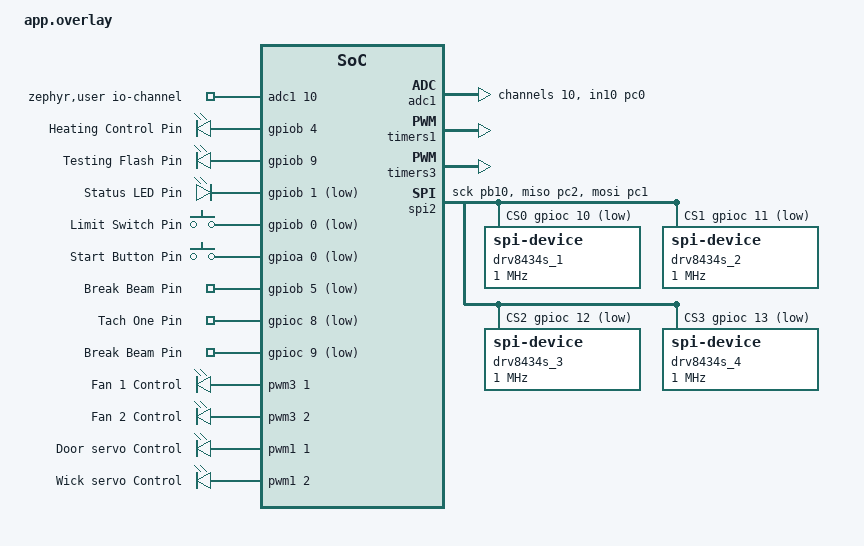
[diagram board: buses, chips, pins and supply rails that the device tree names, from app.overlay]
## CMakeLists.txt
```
# SPDX-License-Identifier: Apache-2.0

cmake_minimum_required(VERSION 3.20.0)
find_package(Zephyr REQUIRED HINTS $ENV{ZEPHYR_BASE})
project(candle-maker)



target_sources(app PRIVATE 
    src/cooling.c
    src/display.c
    src/heating.c
    src/stateMachine.c
    src/servos.c
    src/sensors.c
    src/motors.c

)
```

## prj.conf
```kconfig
CONFIG_SPI=y
CONFIG_GPIO=y
CONFIG_PRINTK=y
CONFIG_LOG=y
CONFIG_PWM=y
CONFIG_NEWLIB_LIBC=y
CONFIG_PICOLIBC=n
CONFIG_LED_PWM=y
CONFIG_ADC=y
CONFIG_UART_CONSOLE=y
CONFIG_SERIAL=y
```

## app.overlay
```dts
/ {
    zephyr,user {
        //io-channels = <&adc1 1>, io-channels = <&adc1 2>, io-channels = <&adc1 3>;
        //gpios = <&gpioc 14 GPIO_ACTIVE_HIGH>; // use this later for heater gpio
        io-channels = <&adc1 10>;
    };

    aliases {
        pwm-fan1 = &fan_pwm1;
        pwm-fan2 = &fan_pwm2;
        pwm-door = &pwm_door;
        pwm-wick = &pwm_wick;
        //tach-input = &tach_input;
        heating-output = &heating_output;
        testing-output = &testing_output;
        limit-sw = &limit_switch_gpio;
        start-btn = &start_button_gpio;
        thru-beam = &gpio_thru_beam;
        status-led = &gpio_status_led;
        gpio-tach1 = &gpio_tach1;
        gpio-tach2 = &gpio_tach2;

        
    };

    gpio_output: gpio_output {
        compatible = "gpio-leds";
        status = "okay";

        // gpio to control the heating element switch
        heating_output: heat_control {
            gpios = <&gpiob 4 GPIO_ACTIVE_HIGH>;
            label = "Heating Control Pin";
        };
        //DELETE AFTER TESTING****************************************************************************
        testing_output: testing_control {
            gpios = <&gpiob 9 GPIO_ACTIVE_HIGH>;
            label = "Testing Flash Pin";
        };

        gpio_status_led: status_led {
            gpios = <&gpiob 1 GPIO_ACTIVE_LOW>; 
            label = "Status LED Pin";
        };

    };

     // Inputs go in a gpio-keys node
    gpio_inputs: gpio_inputs {
        compatible = "gpio-keys";
        status = "okay";
        
        limit_switch_gpio: limit_switch {
            gpios = <&gpiob 0 GPIO_ACTIVE_LOW>;
            label = "Limit Switch Pin";
        };

        start_button_gpio: start_button {
            gpios = <&gpioa 0 GPIO_ACTIVE_LOW>; 
            label = "Start Button Pin";
        };

        gpio_thru_beam: thru_beam {
            gpios = <&gpiob 5 GPIO_ACTIVE_LOW>; 
            label = "Break Beam Pin";
        };

        gpio_tach1: tach_one {
            gpios = <&gpioc 8 GPIO_ACTIVE_LOW>; 
            label = "Tach One Pin";
        };

        gpio_tach2: tach_two {
            gpios = <&gpioc 9 GPIO_ACTIVE_LOW>; 
            label = "Break Beam Pin";
        };
    };


  pwm_node {
        compatible = "pwm-leds";
        status = "okay";

        // Whatever PWM connected to PC6************************************************************************************
        // PC6 is TIM3_CH1*, TIM8_CH1
        fan_pwm1: fan_ctrl_pwm1 {
            pwms = <&pwm3 1 PWM_USEC(500) PWM_POLARITY_NORMAL>;
            label = "Fan 1 Control";
            #pwm-cells = <3>;
        };

        // Whatever PWM connected to PC7
        // PC7 is TIM3_CH2*, TIM8_CH2
        fan_pwm2: fan_ctrl_pwm2 {
            pwms = <&pwm3 2 PWM_USEC(500) PWM_POLARITY_NORMAL>;
            label = "Fan 2 Control";
            #pwm-cells = <3>;
        };

        // Whatever PWM connected to PB13
        // PB13 is TIM1_CH1N*
        pwm_door: door_ctrl_pwm {
             pwms = <&pwm1 1 PWM_MSEC(20) PWM_POLARITY_INVERTED>;
             label = "Door servo Control";
             #pwm-cells = <3>;
        };

        // Whatever PWM connected to PB14
        // PB14 is TIM1_CH2N*, TIM8_CH2N, 
        // lets use TIM12_CH1 if N doesnt work out 
        pwm_wick: wick_pwm {
            pwms = <&pwm1 2 PWM_MSEC(20) PWM_POLARITY_INVERTED>;
            label = "Wick servo Control";
            #pwm-cells = <3>;
        };


    };
};

&adc1 {


    st,adc-prescaler = <6>;
    #address-cells = <1>;
    #size-cells = <0>;
    //#io-channel-cells = <1>;
    //st,adc-clock-source = "SYNC";

    vref-mv = <3300>; //subject to change
    //resolutions = <STM32_ADC_RES(12, 0x00) STM32_ADC_RES(10, 0x01)
    //                    STM32_ADC_RES(8, 0x02)  STM32_ADC_RES(6, 0x03)>;

    //sampling-times = <3 15 28 56 84 112 144 480>;
   // st,adc-sequencer = "programmable";            
   // st,adc-oversampler = "none";                    
    //st,adc-internal-regulator = "none";             

    pinctrl-0 = <&adc1_in10_pc0>;
    pinctrl-names = "default";
    status = "okay";
    
    // adc channel for thermistor -> Whatver ADC connected to PC0 ******************************************
    // ADC123_IN0
    channel@10 {
        reg = <10>;  // ADC channel 10
        zephyr,gain = "ADC_GAIN_1";
        zephyr,reference = "ADC_REF_INTERNAL";
        zephyr,acquisition-time = <ADC_ACQ_TIME_DEFAULT>;
        zephyr,resolution = <12>;
    };

};



&timers1 {
    status = "okay";
     st,prescaler = <8399>;  
    // Timer for door servo pwm -> TIM1_CH1N PB13************************how to configure if N******************
    // Timer for wick servo pwm -> TIM1_CH2N PB14************************how to configure if N******************
    // maybe use TIM12_CH1? for PB14
    pwm1: pwm {
        compatible = "st,stm32-pwm"; 
        status = "okay";
        pinctrl-0 = <&tim1_ch1n_pb13 &tim1_ch2n_pb14>;
        pinctrl-names = "default";
        #pwm-cells = <3>;
    };
};

&timers3 {
    status = "okay";
    st,prescaler = <8399>;  
    // Timer 1 for fan 1 pwm -> TIM3_CH1 PC6
     // Timer 2 for fan 2 pwm -> TIM3_CH2 PC7
    pwm3: pwm3 {
        compatible = "st,stm32-pwm"; 
        status = "okay";
        pinctrl-0 = <&tim3_ch1_pc6 &tim3_ch2_pc7>;
        pinctrl-names = "default";
        #pwm-cells = <3>;
    };
};

&spi2 {
    status = "okay";
    pinctrl-0 = <&spi2_sck_pb10 &spi2_miso_pc2 &spi2_mosi_pc1>;
    pinctrl-names = "default";
    
    // Three CS pins for three drivers
    cs-gpios = <&gpioc 10 GPIO_ACTIVE_LOW>,   // M-CS1 (Driver 1)
               <&gpioc 11 GPIO_ACTIVE_LOW>,   // M-CS2 (Driver 2)
               <&gpioc 12 GPIO_ACTIVE_LOW>,   // M-CS3 (Driver 3)
               <&gpioc 13 GPIO_ACTIVE_LOW>; 
    
    // spi device 1 
    drv8434s_1: drv8434s@0 {
        compatible = "spi-device";
        reg = <0>;  // Uses cs-gpios[0]
        spi-max-frequency = <1000000>;
    };
    
    // spi device 2
    drv8434s_2: drv8434s@1 {
        compatible = "spi-device";
        reg = <1>;  // Uses cs-gpios[1]
        spi-max-frequency = <1000000>;
    };
    
    // spi device 3
    drv8434s_3: drv8434s@2 {
        compatible = "spi-device";
        reg = <2>;  // Uses cs-gpios[2]
        spi-max-frequency = <1000000>;
    };

     // spi device 4
    drv8434s_4: drv8434s@3 {
        compatible = "spi-device";
        reg = <3>;  // Uses cs-gpios[3]
        spi-max-frequency = <1000000>;
    };
};
```

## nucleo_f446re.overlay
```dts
/ {
    zephyr,user {
        io-channels = <&adc1 10>;
    };

    aliases {
        pwm-fan1 = &fan_pwm1;
        pwm-fan2 = &fan_pwm2;
        pwm-door = &pwm_door;
        pwm-wick = &pwm_wick;
        heating-output = &heating_output;
        testing-output = &testing_output;
        limit-sw = &limit_switch_gpio;
        start-btn = &start_button_gpio;
        thru-beam = &gpio_thru_beam;
        status-led = &gpio_status_led;
        gpio-tach1 = &gpio_tach1;
        gpio-tach2 = &gpio_tach2;
    };

    gpio_output: gpio_output {
        compatible = "gpio-leds";
        status = "disabled";

        heating_output: heat_control {
            gpios = <&gpiob 4 GPIO_ACTIVE_HIGH>;
            label = "Heating Control Pin";
        };

        testing_output: testing_control {
            gpios = <&gpiob 12 GPIO_ACTIVE_HIGH>;
            label = "Testing Flash Pin";
        };

        gpio_status_led: status_led {
            gpios = <&gpiob 1 GPIO_ACTIVE_LOW>; 
            label = "Status LED Pin";
        };
    };


motor_gpio_outputs: motor_gpio_outputs {
    compatible = "gpio-leds";
    status = "okay";

    motor1_step_pin: motor1_step {
         gpios = <&gpioa 10 GPIO_ACTIVE_HIGH>;
        label = "Motor 1 Step Pin";
    };
    
    motor1_dir_pin: motor1_dir {
        gpios = <&gpioa 11 GPIO_ACTIVE_HIGH>;
        label = "Motor 1 Dir Pin";
    };


        motor2_step_pin: motor2_step {
            gpios = <&gpioa 4 GPIO_ACTIVE_HIGH>;  // Changed from PA8 to PC0
            label = "Motor 2 Step Pin";
        };
        
        motor2_dir_pin: motor2_dir {
            gpios = <&gpioc 1 GPIO_ACTIVE_HIGH>;  // Changed from PA9 to PC1
            label = "Motor 2 Dir Pin";
        };

        motor3_step_pin: motor3_step {
            gpios = <&gpiob 6 GPIO_ACTIVE_HIGH>;
            label = "Motor 3 Step Pin";
        };
        
        motor3_dir_pin: motor3_dir {
            gpios = <&gpiob 7 GPIO_ACTIVE_HIGH>;
            label = "Motor 3 Dir Pin";
        };

        motor4_step_pin: motor4_step {
            gpios = <&gpiob 8 GPIO_ACTIVE_HIGH>;
            label = "Motor 4 Step Pin";
        };
        
        motor4_dir_pin: motor4_dir {
            gpios = <&gpiob 9 GPIO_ACTIVE_HIGH>;
            label = "Motor 4 Dir Pin";
        };
    };

    // Inputs go in a gpio-keys node
    gpio_inputs: gpio_inputs {
        compatible = "gpio-keys";
        status = "disabled";
        
        limit_switch_gpio: limit_switch {
            gpios = <&gpiob 0 GPIO_ACTIVE_LOW>;
            label = "Limit Switch Pin";
        };

        start_button_gpio: start_button {
            gpios = <&gpioa 0 GPIO_ACTIVE_LOW>; 
            label = "Start Button Pin";
        };

        gpio_thru_beam: thru_beam {
            gpios = <&gpiob 5 GPIO_ACTIVE_LOW>; 
            label = "Break Beam Pin";
        };

        gpio_tach1: tach_one {
            gpios = <&gpioc 8 GPIO_ACTIVE_LOW>; 
            label = "Tach One Pin";
        };

        gpio_tach2: tach_two {
            gpios = <&gpioc 9 GPIO_ACTIVE_LOW>; 
            label = "Tach Two Pin";
        };
    };


  pwm_node {
        compatible = "pwm-leds";
        status = "disabled";

        // Whatever  connected to PC6************************************************************************************
        // PC6 is TIM3_CH1*, TIM8_CH1
        fan_pwm1: fan_ctrl_pwm1 {
            pwms = <&pwm3 1 PWM_USEC(500) PWM_POLARITY_NORMAL>;
            label = "Fan 1 Control";
            #pwm-cells = <3>;
        };

        // Whatever PWM connected to PC7
        // PC7 is TIM3_CH2*, TIM8_CH2
        fan_pwm2: fan_ctrl_pwm2 {
            pwms = <&pwm3 2 PWM_USEC(500) PWM_POLARITY_NORMAL>;
            label = "Fan 2 Control";
            #pwm-cells = <3>;
        };

        // Whatever PWM connected to PB13
        // PB13 is TIM1_CH1N*
        pwm_door: door_ctrl_pwm {
             pwms = <&pwm1 1 PWM_MSEC(20) PWM_POLARITY_INVERTED>;
             label = "Door servo Control";
             #pwm-cells = <3>;
        };

        // Whatever PWM connected to PB14
        // PB14 is TIM1_CH2N*, TIM8_CH2N, 
        // lets use TIM12_CH1 if N doesnt work out 
        pwm_wick: wick_pwm {
            pwms = <&pwm1 2 PWM_MSEC(20) PWM_POLARITY_INVERTED>;
            label = "Wick servo Control";
            #pwm-cells = <3>;
        };


    };
};

&adc1 {


    st,adc-prescaler = <6>;
    #address-cells = <1>;
    #size-cells = <0>;
    //#io-channel-cells = <1>;
    //st,adc-clock-source = "SYNC";

    vref-mv = <3300>; //subject to change
    //resolutions = <STM32_ADC_RES(12, 0x00) STM32_ADC_RES(10, 0x01)
    //                    STM32_ADC_RES(8, 0x02)  STM32_ADC_RES(6, 0x03)>;

    //sampling-times = <3 15 28 56 84 112 144 480>;
   // st,adc-sequencer = "programmable";            
   // st,adc-oversampler = "none";                    
    //st,adc-internal-regulator = "none";             

    pinctrl-0 = <&adc1_in10_pc0>;
    pinctrl-names = "default";
    status = "disabled";
    
    // adc channel for thermistor -> Whatver ADC connected to PC0 ******************************************
    // ADC123_IN0
    channel@10 {
        reg = <10>;  // ADC channel 10
        zephyr,gain = "ADC_GAIN_1";
        zephyr,reference = "ADC_REF_INTERNAL";
        zephyr,acquisition-time = <ADC_ACQ_TIME_DEFAULT>;
        zephyr,resolution = <12>;
    };

};



&timers1 {
    status = "disabled";
     st,prescaler = <8399>;  
    // Timer for door servo pwm -> TIM1_CH1N PB13************************how to configure if N******************
    // Timer for wick servo pwm -> TIM1_CH2N PB14************************how to configure if N******************
    // maybe use TIM12_CH1? for PB14
    pwm1: pwm {
        compatible = "st,stm32-pwm"; 
        status = "okay";
        pinctrl-0 = <&tim1_ch1n_pb13 &tim1_ch2n_pb14>;
        pinctrl-names = "default";
        #pwm-cells = <3>;
    };
};

&timers3 {
    status = "disabled";
    st,prescaler = <8399>;  
    // Timer 1 for fan 1 pwm -> TIM3_CH1 PC6
     // Timer 2 for fan 2 pwm -> TIM3_CH2 PC7
    pwm3: pwm3 {
        compatible = "st,stm32-pwm"; 
        status = "okay";
        pinctrl-0 = <&tim3_ch1_pc6 &tim3_ch2_pc7>;
        pinctrl-names = "default";
        #pwm-cells = <3>;
    };
};

&spi2 {
    status = "okay";
    pinctrl-0 = <&spi2_sck_pb10 &spi2_miso_pc2 &spi2_mosi_pc1>;
    pinctrl-names = "default";
    
    // Three CS pins for three drivers
    cs-gpios = <&gpioc 10 GPIO_ACTIVE_LOW>,   // M-CS1 (Driver 1)
               <&gpioc 11 GPIO_ACTIVE_LOW>,   // M-CS2 (Driver 2)
               <&gpioc 12 GPIO_ACTIVE_LOW>,   // M-CS3 (Driver 3)
               <&gpioc 13 GPIO_ACTIVE_LOW>; 
    
    // spi device 1 
    // scent dispensing motor
    drv8434s_1: drv8434s@0 {
        compatible = "spi-device";
        reg = <0>;  // Uses cs-gpios[0]
        spi-max-frequency = <1000000>;
    };
    
    // spi device 2
    // stirring motor
    drv8434s_2: drv8434s@1 {
        compatible = "spi-device";
        reg = <1>;  // Uses cs-gpios[1]
        spi-max-frequency = <1000000>;
    };
    
    // spi device 3
    // wax dispensing motor
    drv8434s_3: drv8434s@2 {
        compatible = "spi-device";
        reg = <2>;  // Uses cs-gpios[2]
        spi-max-frequency = <1000000>;
    };

     // spi device 4
     // lead screw motor
    drv8434s_4: drv8434s@3 {
        compatible = "spi-device";
        reg = <3>;  // Uses cs-gpios[3]
        spi-max-frequency = <1000000>;
    };
};
```

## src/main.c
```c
// main.c
#include "daisy_chain.h"
// this is literally just for testing the motors, were going to see if i can get them to be smoother


int configure_driver(const struct device *spi_dev, 
                     const struct spi_config *spi_cfg,
                     int driver_num)
{
    int ret;
    printk("Configuring Driver %d \n", driver_num);
    
    k_mutex_lock(&spi_mutex, K_FOREVER);
    
    // CTRL2: Enable driver 
    ret = drv8434s_write_reg(spi_dev, spi_cfg, DRV8434S_CTRL2_REG, 0x8F);
    if (ret != 0) {
        printk("Driver %d: Failed to write CTRL2\n", driver_num);
        k_mutex_unlock(&spi_mutex);
        return ret;
    }


    

    
    // CTRL3: Enable SPI control + set microstepping
    // Bit 5: SPI_DIR = 1 (control direction via SPI)
    // Bit 4: SPI_STEP = 1 (control stepping via SPI)
    // Bits 3-0: 0110b = 1/16 microstepping
    uint8_t ctrl3_val = (1 << 5) |  // SPI_DIR enable
                        (1 << 4) |  // SPI_STEP enable
                        0x06;       // 1/16 microstepping
    
    ret = drv8434s_write_reg(spi_dev, spi_cfg, DRV8434S_CTRL3_REG, ctrl3_val);
    if (ret != 0) {
        printk("Driver %d: Failed to write CTRL3\n", driver_num);
        k_mutex_unlock(&spi_mutex);
        return ret;
    }
    
    // CTRL6 -> Set current limit to 1.5A
    ret = drv8434s_write_reg(spi_dev, spi_cfg, DRV8434S_CTRL6_REG, 153);
    if (ret != 0) {
        printk("Driver %d: Failed to write CTRL6\n", driver_num);
        k_mutex_unlock(&spi_mutex);
        return ret;
    }
    
    k_mutex_unlock(&spi_mutex);
    
    printk("Driver %d configured: SPI control enabled, 1/16 microstep, 1.5A\n", driver_num);
    return 0;
}

void test_read_driver(const struct device *spi_dev,
                      const struct spi_config *spi_cfg,
                      int driver_num)
{
    uint8_t value;
    int ret;
    
    k_mutex_lock(&spi_mutex, K_FOREVER);
    ret = drv8434s_read_reg(spi_dev, spi_cfg, DRV8434S_CTRL3_REG, &value);
    k_mutex_unlock(&spi_mutex);
    
    if (ret == 0) {
        printk("Driver %d CTRL3 value: 0x%02X\n", driver_num, value);
    } else {
        printk("Driver %d read failed\n", driver_num);
    }
}

// Step one motor - STEP bit is self-clearing!
int drv8434s_step_motor(const struct device *spi_dev, 
                        const struct spi_config *spi_cfg,
                        bool direction,
                        int num_steps)
{
    int ret;
    
    printk("Stepping: direction=%d, steps=%d\n", direction, num_steps);
    
    k_mutex_lock(&spi_mutex, K_FOREVER);
    
    for (int i = 0; i < num_steps; i++) {
        // 0xF6 = forward, 0x76 = backward
        //uint8_t ctrl3_val = direction ? 0xF6 : 0x76;
        uint8_t ctrl3_val = 0x76;
        
        ret = drv8434s_write_reg(spi_dev, spi_cfg, DRV8434S_CTRL3_REG, ctrl3_val);
        if (ret != 0) {
            printk("Step %d failed! ret=%d\n", i, ret);
            k_mutex_unlock(&spi_mutex);
            return ret;
        }
        
        if (i % 50 == 0) {  // Print every 50 steps
            printk("Step %d...\n", i);
        }
        
        k_usleep(1);
    }
    
    k_mutex_unlock(&spi_mutex);
    printk("Stepping complete!\n");
    return 0;
}


int drv8434s_step_motor_smooth(const struct device *spi_dev, 
                               const struct spi_config *spi_cfg,
                               bool direction,
                               int num_steps)
{
    int ret;
    k_mutex_lock(&spi_mutex, K_FOREVER);
    
    int accel_steps = 50;  // Ramp up/down over 50 steps
    
    for (int i = 0; i < num_steps; i++) {
        uint8_t ctrl3_val = 0x74;  // 1/4 microstep values
        
        ret = drv8434s_write_reg(spi_dev, spi_cfg, DRV8434S_CTRL3_REG, ctrl3_val);
        if (ret != 0) {
            k_mutex_unlock(&spi_mutex);
            return ret;
        }
        
        // Variable delay for acceleration/deceleration (trying to get the motion less choppy)
        int delay;
        if (i < accel_steps) {
            // Accelerate: start slow, get faster
            delay = 500 - (i * 400 / accel_steps);
        } else if (i > num_steps - accel_steps) {
            // Decelerate: slow down
            int remaining = num_steps - i;
            delay = 500 - (remaining * 400 / accel_steps);
        } else {
            // Constant speed in the middle
            delay = 100;
        }
        
        k_usleep(delay);
    }
    
    k_mutex_unlock(&spi_mutex);
    return 0;
}

int main(void)
{
    int ret;
    
    printk("\n DRV8434S Parallel Configuration Test\n\n");
    
    // Initialize - this fills in spi_dev1/2/3 and spi_cfg1/2/3
    ret = drv8434s_init();
    if (ret != 0) {
        printk("FATAL: Initialization failed!\n");
        return ret;
    }
    
    k_msleep(100);
    
    // Configure all drivers
    printk("\n--- Configuring all drivers ---\n");
    configure_driver(spi_dev1, &spi_cfg1, 1);  
    configure_driver(spi_dev2, &spi_cfg2, 2);  
    configure_driver(spi_dev3, &spi_cfg3, 3);  
    

    
    k_msleep(100);
    // After configuration, read back CTRL3:
    uint8_t readback;
    drv8434s_read_reg(spi_dev2, &spi_cfg2, DRV8434S_CTRL3_REG, &readback);
    printk("Driver 2 CTRL3 readback: 0x%02X (expected 0x36)\n", readback);
    
    
    k_msleep(100);
    // Comment out read test - we know communication works!
    /*
    printk("\n--- Reading back from drivers ---\n");
    test_read_driver(spi_dev1, &spi_cfg1, 1);
    test_read_driver(spi_dev2, &spi_cfg2, 2);
    test_read_driver(spi_dev3, &spi_cfg3, 3);
    */
    
    printk("\n Configuration Complete \n");
    
    // Test motor movement
    printk("\nTesting Motor Movement\n");
    k_msleep(1000);
    
    printk("Motor 1: 200 steps forward\n");
    drv8434s_step_motor_smooth(spi_dev2, &spi_cfg2, true, 200);
    k_msleep(500);
    
    printk("Motor 1: 200 steps backward\n");
    drv8434s_step_motor_smooth(spi_dev2, &spi_cfg2, false, 200);
    k_msleep(500);
    
    printk("\n Motor Test Done\n");
    
    while (1) {
        k_msleep(1000);
    }
    
    return 0;
}
```

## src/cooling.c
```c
// This is the program to control the fans
// Two fans so two PWM signals and two TACH inputs
// Uses interrupts to update the tach pulse counters and a thread with helper functions 
// to appropiately update the PWM signal for the fans
// This file was never fully tested so its missing some definitions like target RPM and tolerance
// I did test the PWM signals and tach reading separately and it worked
// See cooling.h for helper function descriptions

#include <zephyr/kernel.h>
#include <zephyr/device.h>
#include <zephyr/devicetree.h>
#include <zephyr/drivers/gpio.h>
#include <zephyr/drivers/pwm.h>
#include <zephyr/sys/util.h>
#include "cooling.h"

#define TACHTHREAD_STACK_SIZE 1024
#define TACHTHREAD_PRIORITY 2

#define OPERATING_SPEED_RPM 2000  // Target RPM***************************************literally no idea
#define SPEED_ERROR_RPM 200       // Tolerance (might increase?)******************************
#define DUTY_STEP 5
#define TACH_SAMPLE_PERIOD_MS 1000  // Sample for 1 second
#define PULSES_PER_REV 2  // Most PC fans = 2 pulses/revolution apparently but I need to confirm***********************

// Semaphore to control cooling thread
K_SEM_DEFINE(cooling_sem, 0, 1);

// PWM for both fans
static const struct pwm_dt_spec pwm_fan1 = PWM_DT_SPEC_GET(DT_ALIAS(pwm_fan1));
static const struct pwm_dt_spec pwm_fan2 = PWM_DT_SPEC_GET(DT_ALIAS(pwm_fan2));

// GPIO for both tach inputs
static const struct gpio_dt_spec gpio_tach1 = GPIO_DT_SPEC_GET(DT_ALIAS(gpio_tach1), gpios);
static const struct gpio_dt_spec gpio_tach2 = GPIO_DT_SPEC_GET(DT_ALIAS(gpio_tach2), gpios);

// Tach pulse counters
static volatile uint32_t tach1_pulse_count = 0;
static volatile uint32_t tach2_pulse_count = 0;

// GPIO callbacks
static struct gpio_callback tach1_cb_data;
static struct gpio_callback tach2_cb_data;

// Current duty cycles
static uint32_t period_us = 500;  // 2kHz
static uint8_t current_duty_fan1 = 0;
static uint8_t current_duty_fan2 = 0;


// Thread definition
K_THREAD_DEFINE(tach_thread_id, TACHTHREAD_STACK_SIZE,
                tach_monitoring_thread, NULL, NULL, NULL, 
                TACHTHREAD_PRIORITY, 0, 0);


// tach1 interrupt handler
void tach1_interrupt_handler(const struct device *dev, struct gpio_callback *cb, uint32_t pins){
    tach1_pulse_count++;
}
// tach2 interrupt handler
void tach2_interrupt_handler(const struct device *dev, struct gpio_callback *cb, uint32_t pins){
    tach2_pulse_count++;
}

// sets pwm signal for fan 1
int set_fan1(uint8_t percent_duty)
{
    // Start fan at duty_percent * period
    uint32_t pulse_us = (period_us * percent_duty) / 100;
    int err = pwm_set_dt(&pwm_fan1, PWM_USEC(period_us), PWM_USEC(pulse_us));
    if (err < 0) {
        printk("Failed to set Fan 1 PWM: %d\n", err);
        return err;
    }
    current_duty_fan1 = percent_duty;
    return 0;
}

// sets pwm signal for fan 2
int set_fan2(uint8_t percent_duty)
{
    // Start fan at duty_percent * period
    uint32_t pulse_us = (period_us * percent_duty) / 100;
    int err = pwm_set_dt(&pwm_fan2, PWM_USEC(period_us), PWM_USEC(pulse_us));
    if (err < 0) {
        printk("Failed to set Fan 2 PWM: %d\n", err);
        return err;
    }
    current_duty_fan2 = percent_duty;
    return 0;
}

int set_both_fans(uint8_t percent_duty)
{
    int err1 = set_fan1(percent_duty);
    int err2 = set_fan2(percent_duty);
    
    if (err1 < 0 || err2 < 0) {
        return -1;
    }
    
    printk("Both fans set to %d%% duty cycle\n", percent_duty);
    return 0;
}

int stop_fans(void)
{
    int err1 = pwm_set_dt(&pwm_fan1, PWM_USEC(period_us), 0);
    int err2 = pwm_set_dt(&pwm_fan2, PWM_USEC(period_us), 0);
    
    if (err1 < 0 || err2 < 0) {
        printk("Failed to stop fans\n");
        return -1;
    }
    
    current_duty_fan1 = 0;
    current_duty_fan2 = 0;
    printk("Both fans stopped\n");
    return 0;
}

// tach reading functions
uint32_t read_tach1_rpm(void)
{
    // Reset counter
    tach1_pulse_count = 0;
    
    // Wait for sample period
    k_msleep(TACH_SAMPLE_PERIOD_MS);
    
    // Calculate RPM
    // RPM = (pulses / sample_time_seconds) / pulses_per_rev * 60
    uint32_t rpm = (tach1_pulse_count * 60) / PULSES_PER_REV;
    
    printk("Fan 1 - Pulses: %u, RPM: %u\n", tach1_pulse_count, rpm);
    return rpm;
}

uint32_t read_tach2_rpm(void)
{
    // Resets counter
    tach2_pulse_count = 0;
    
    // Wait for sample period
    k_msleep(TACH_SAMPLE_PERIOD_MS);
    
    // Calculate RPM
    uint32_t rpm = (tach2_pulse_count * 60) / PULSES_PER_REV;
    
    printk("Fan 2 - Pulses: %u, RPM: %u\n", tach2_pulse_count, rpm);
    return rpm;
}



// start cooling threads
void start_cooling(void)
{
    current_duty_fan1 = 50;
    current_duty_fan2 = 50;
    set_both_fans(50);
    k_sem_give(&cooling_sem);  // Wake up monitoring thread
    printk("Cooling started at 50%% duty\n");
}

// stop cooling thread
void stop_cooling(void)
{
    k_sem_reset(&cooling_sem);  // Stop monitoring
    stop_fans();
    printk("Cooling stopped\n");
}

// init cooling 
int cooling_init(void)
{
    int err;

    // Check PWM devices
    if (!device_is_ready(pwm_fan1.dev)) {
        printk("Fan 1 PWM device not ready\n");
        return -1;
    }
    
    if (!device_is_ready(pwm_fan2.dev)) {
        printk("Fan 2 PWM device not ready\n");
        return -1;
    }


    // Configure tach GPIO inputs
    if (!device_is_ready(gpio_tach1.port)) {
        printk("Tach 1 GPIO device not ready\n");
        return -1;
    }
    
    if (!device_is_ready(gpio_tach2.port)) {
        printk("Tach 2 GPIO device not ready\n");
        return -1;
    }

    // Configure tach 1 as input with interrupt on rising edge
    err = gpio_pin_configure_dt(&gpio_tach1, GPIO_INPUT);
    if (err < 0) {
        printk("Failed to configure tach 1 GPIO: %d\n", err);
        return err;
    }

    err = gpio_pin_interrupt_configure_dt(&gpio_tach1, GPIO_INT_EDGE_RISING);
    if (err < 0) {
        printk("Failed to configure tach 1 interrupt: %d\n", err);
        return err;
    }

    // Configure tach 2 as input with interrupt on rising edge
    err = gpio_pin_configure_dt(&gpio_tach2, GPIO_INPUT);
    if (err < 0) {
        printk("Failed to configure tach 2 GPIO: %d\n", err);
        return err;
    }

    err = gpio_pin_interrupt_configure_dt(&gpio_tach2, GPIO_INT_EDGE_RISING);
    if (err < 0) {
        printk("Failed to configure tach 2 interrupt: %d\n", err);
        return err;
    }

    // Setup GPIO callbacks for the tach
    gpio_init_callback(&tach1_cb_data, tach1_interrupt_handler, BIT(gpio_tach1.pin));
    gpio_add_callback(gpio_tach1.port, &tach1_cb_data);
    gpio_init_callback(&tach2_cb_data, tach2_interrupt_handler, BIT(gpio_tach2.pin));
    gpio_add_callback(gpio_tach2.port, &tach2_cb_data);

    // Start fans stopped
    err = stop_fans();
    if (err < 0) {
        return err;
    }

    printk("Cooling system initialized\n");
    return 0;
}

// tach monitoring thread
void tach_monitoring_thread(void *p1, void *p2, void *p3)
{
    ARG_UNUSED(p1);
    ARG_UNUSED(p2);
    ARG_UNUSED(p3);

    printk("Tach monitoring thread started\n");

    while (1) {
        // wait for cooling to be enabled (by start_cooling)
        k_sem_take(&cooling_sem, K_FOREVER);

        // monitoring loop
        while (k_sem_count_get(&cooling_sem) > 0) {
            // read both tach speeds
            uint32_t rpm1 = read_tach1_rpm();
            uint32_t rpm2 = read_tach2_rpm();

            // adjust fan 1 based on tach reading
            if (rpm1 > OPERATING_SPEED_RPM + SPEED_ERROR_RPM) {
                current_duty_fan1 = (current_duty_fan1 > DUTY_STEP) ? current_duty_fan1 - DUTY_STEP : 0;
                set_fan1(current_duty_fan1);
                printk("Fan 1 speed too high");
            } else if (rpm1 < OPERATING_SPEED_RPM - SPEED_ERROR_RPM) {
                current_duty_fan1 = (current_duty_fan1 < 100 - DUTY_STEP) ? current_duty_fan1 + DUTY_STEP : 100;
                set_fan1(current_duty_fan1);
                printk("Fan 1 speed too low");
            }

            // adjust fan 2 based on tach 2 reading
            if (rpm2 > OPERATING_SPEED_RPM + SPEED_ERROR_RPM) {
                current_duty_fan2 = (current_duty_fan2 > DUTY_STEP) ? current_duty_fan2 - DUTY_STEP : 0;
                set_fan2(current_duty_fan2);
                printk("Fan 2 speed too high");
            } else if (rpm2 < OPERATING_SPEED_RPM - SPEED_ERROR_RPM) {
                current_duty_fan2 = (current_duty_fan2 < 100 - DUTY_STEP) ? current_duty_fan2 + DUTY_STEP : 100;
                set_fan2(current_duty_fan2);
                printk("Fan 2 speed too low");
            }
            k_msleep(500);  // Check every 500ms
        }
    }
}
```

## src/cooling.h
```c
#ifndef COOLING_H
#define COOLING_H


// need to include this in header files if you use fixed width int types in a function signature
// zephyr includes this automatically in c files
#include <stdint.h>

// initializes GPIO pins, PWM signals
int cooling_init(void);
// sets pwm signal for fan 1
int set_fan1(uint8_t percent_duty);
// sets pwm signal for fan 2
int set_fan2(uint8_t percent_duty);
// sets pwm signal for both fans
int set_both_fans(uint8_t percent_duty);
// stops the fans (duty cycle -> 0)
int stop_fans(void);

// reads the tachs for each fan and resets pulse count
// helper function for the fan thread
uint32_t read_tach1_rpm(void);
uint32_t read_tach2_rpm(void);

// gives the semaphore to start the cooligng thread
void start_cooling(void);
// resets semaphore count to 0 (stops cooling thread)
void stop_cooling(void);


void tach_monitoring_thread(void *p1, void *p2, void *p3);
#endif
```

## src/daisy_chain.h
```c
#ifndef DAISY_CHAIN_H
#define DAISY_CHAIN_H

#include <zephyr/kernel.h>
#include <zephyr/device.h>
#include <zephyr/drivers/spi.h>
#include <zephyr/drivers/gpio.h>

// DRV8434S Register Addresses (from datasheet)
#define DRV8434S_FAULT_REG    0x00  // Fault status register
#define DRV8434S_DIAG1_REG    0x01  // Diagnostics 1
#define DRV8434S_DIAG2_REG    0x02  // Diagnostics 2
#define DRV8434S_CTRL1_REG    0x03  // Control register 1
#define DRV8434S_CTRL2_REG    0x04  // Control register 2 (DIR, STEP, SPI_DIR, SPI_STEP, MICROSTEP_MODE)
#define DRV8434S_CTRL3_REG    0x05  // Control register 3 (overcurrent check)
#define DRV8434S_CTRL4_REG    0x06  // Control register 4 (stall detection)
#define DRV8434S_CTRL5_REG    0x07  // Control register 5
#define DRV8434S_CTRL6_REG    0x08  // Control register 6
#define DRV8434S_CTRL7_REG    0x09  // Control register 7


//extern = tells compiler "these variables exists somewhere TRUST"
extern const struct device *spi_dev1;
extern const struct device *spi_dev2;
extern const struct device *spi_dev3;

extern struct spi_config spi_cfg1;
extern struct spi_config spi_cfg2;
extern struct spi_config spi_cfg3;

extern struct k_mutex spi_mutex;

// Motor command structure
struct motor_command {
    uint8_t motor_id;      // 1, 2, or 3
    int32_t steps;         // Positive = forward, negative = reverse
    uint32_t speed_hz;     // Steps per second
    bool in_use;           // Flag to indicate if command is active
};


// Thread stack and priority definitions
#define MOTOR_THREAD_STACK_SIZE 2048
#define MOTOR_THREAD_PRIORITY 5

// Function declarations
int motor_move(uint8_t motor_id, int32_t steps, uint32_t speed_hz);
void motor_thread_entry(void *p1, void *p2, void *p3);
int drv8434s_init(void);
int drv8434s_write_reg(const struct device *spi_dev, 
                       const struct spi_config *spi_cfg,
                       uint8_t reg, 
                       uint8_t value);
int drv8434s_read_reg(const struct device *spi_dev,
                      const struct spi_config *spi_cfg,
                      uint8_t reg,
                      uint8_t *value);

#endif // DAISY_CHAIN_H
```

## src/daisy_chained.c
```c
#include "daisy_chain.h"


//flag for thru beam
static volatile bool thru_beam_triggered = false;

// Motor command queue (one command per motor)
static struct motor_command motor_commands[3] = {0};

// Mutex for motor command access
K_MUTEX_DEFINE(motor_cmd_mutex);

K_MUTEX_DEFINE(spi_mutex);

// Semaphore to wake up motor thread
K_SEM_DEFINE(motor_sem, 0, 1);



// Motor thread
K_THREAD_DEFINE(motor_thread_id, MOTOR_THREAD_STACK_SIZE,
                motor_thread_entry, NULL, NULL, NULL,
                MOTOR_THREAD_PRIORITY, 0, 0);

const struct device *spi_dev1;
const struct device *spi_dev2;
const struct device *spi_dev3;

struct spi_config spi_cfg1;
struct spi_config spi_cfg2;
struct spi_config spi_cfg3;

// Thru beam ISR (will need to configure and attach in init code)
void thru_beam_isr(const struct device *dev, struct gpio_callback *cb, uint32_t pins)
{
    thru_beam_triggered = true;
}


int drv8434s_init(void) {
    printk("Initializing DRV8434S drivers...\n");
    
    // Gets the SPI bus device (not the individual driver nodes)
    const struct device *spi_bus = DEVICE_DT_GET(DT_NODELABEL(spi1));
    
    if (!device_is_ready(spi_bus)) {
        printk("ERROR: SPI1 bus not ready!\n");
        return -1;
    }
    
    // All three drivers use the same SPI bus
    spi_dev1 = spi_bus;
    spi_dev2 = spi_bus;
    spi_dev3 = spi_bus;
    
    printk("SPI bus ready\n");

    // Configure SPI settings for driver 1
    spi_cfg1.frequency = 1000000;
    spi_cfg1.operation = SPI_WORD_SET(8) | SPI_TRANSFER_MSB | SPI_MODE_CPHA | SPI_OP_MODE_MASTER;
    spi_cfg1.slave = 0;
    spi_cfg1.cs = (struct spi_cs_control){
        .gpio = GPIO_DT_SPEC_GET_BY_IDX(DT_NODELABEL(spi1), cs_gpios, 0),
        .delay = 0,
    };

    // Configure SPI settings for driver 2
    spi_cfg2.frequency = 1000000;
    spi_cfg2.operation = SPI_WORD_SET(8) | SPI_TRANSFER_MSB | SPI_MODE_CPHA | SPI_OP_MODE_MASTER;
    spi_cfg2.slave = 1;
    spi_cfg2.cs = (struct spi_cs_control){
        .gpio = GPIO_DT_SPEC_GET_BY_IDX(DT_NODELABEL(spi1), cs_gpios, 1),
        .delay = 0,
    };

    // Configure SPI settings for driver 3
    spi_cfg3.frequency = 1000000;
    spi_cfg3.operation = SPI_WORD_SET(8) | SPI_TRANSFER_MSB | SPI_MODE_CPHA | SPI_OP_MODE_MASTER;
    spi_cfg3.slave = 2;
    spi_cfg3.cs = (struct spi_cs_control){
        .gpio = GPIO_DT_SPEC_GET_BY_IDX(DT_NODELABEL(spi1), cs_gpios, 2),
        .delay = 0,
    };

    printk("SPI configurations set\n");
    return 0;
}



// Write to a SPECIFIC driver
int drv8434s_write_reg(const struct device *spi_dev, const struct spi_config *spi_cfg,uint8_t reg, uint8_t value)
//value = bit to write, reg = register address
{

    /* DRV8434S SPI Frame (16 bits total):
            Bit 15:    Reserved (always 0)
            Bit 14:    W (Write bit) - 0=write, 1=read
            Bits 13-9: A (Address) - 5-bit register address
            Bit 8:     Reserved (always 0)
            Bits 7-0:  D (Data) - 8-bit data value
    */
    uint16_t frame = 0;
    // put 0 at bit 14 just to tell the driver that the register is being written to
    frame |= (0 << 14);          // Bit 14: W=0 for write
    // or the frame with the reg address and 1F (because it makese sure only the lower 5 bit are used) and then shift it nine bits to put it in bits 13-9
    frame |= ((reg & 0x1F) << 9); // Bits 13-9: 5-bit address
    // put the data to be transfered into the first 8 bits and and it with 0xFF because it ensures the value is only 8 bits
    frame |= (value & 0xFF);      // Bits 7-0: 8-bit data

    // Send as two bytes, MSB first
    uint8_t tx_buf[2];
    tx_buf[0] = (frame >> 8) & 0xFF;  // Upper byte & 0xFF ensures its only 8 bits
    tx_buf[1] = frame & 0xFF;          // Lower byte & 0xFF ensures its only 8 bits
    

    // zephyr spi buffer struct
    struct spi_buf tx_spi_buf = {
        .buf = tx_buf, //pointer to the data array
        .len = 2 // length of the data array (in bytes)
    };

    // zephyr set of spi buffers struct
    struct spi_buf_set tx_spi_buf_set = {
        .buffers = &tx_spi_buf, // pointer to the buffers
        .count = 1 // just 1 for now 
    };

    // spi write automatically pulls CS low based on .slave in spi_cfg
    // then transfers all bytes in the buffer
    // pull CS high when done
    int flag;
    flag = spi_write(spi_dev, spi_cfg, &tx_spi_buf_set);
    k_usleep(5);  // 5 µs to be safe

    return flag;
}


// Spi read function
int drv8434s_read_reg(const struct device *spi_dev, const struct spi_config *spi_cfg, uint8_t reg, uint8_t *value)
//value = bit to write, reg = register address
{
    uint8_t tx_buf[2];
    uint8_t rx_buf[2];
    
    // Build 16-bit frame with read bit set
    uint16_t frame = 0;
    frame |= (1 << 14);           // Bit 14: W=1 for READ
    frame |= ((reg & 0x1F) << 9); // Bits 13-9: 5-bit address of the register being read from

    
    tx_buf[0] = (frame >> 8) & 0xFF; //lower 8 bytes (0xFF ensures its only 8)
    tx_buf[1] = frame & 0xFF;


    struct spi_buf tx_spi_buf = {
        .buf = tx_buf,
        .len = 2
    };
    struct spi_buf rx_spi_buf = {
        .buf = rx_buf,
        .len = 2
    };
    struct spi_buf_set tx_spi_buf_set = {
        .buffers = &tx_spi_buf,
        .count = 1
    };
    struct spi_buf_set rx_spi_buf_set = {
        .buffers = &rx_spi_buf,
        .count = 1
    };
    

    int flag = spi_transceive(spi_dev, spi_cfg, &tx_spi_buf_set, &rx_spi_buf_set);
    if (flag < 0) {
        printk("failed to read %d\n", flag);
        }

    k_usleep(5);  // 5 microseconds


    *value = rx_buf[1];  // Register data in lower byte

    return flag;
}




// Helper function to get the right SPI config for a motor
static const struct device* get_motor_spi_dev(uint8_t motor_id) {
    switch(motor_id) {
        case 1: return spi_dev1;
        case 2: return spi_dev2;
        case 3: return spi_dev3;
        default: return NULL;
    }
}

static struct spi_config* get_motor_spi_cfg(uint8_t motor_id) {
    switch(motor_id) {
        case 1: return &spi_cfg1;
        case 2: return &spi_cfg2;
        case 3: return &spi_cfg3;
        default: return NULL;
    }
}

// Initialize a motor for SPI control
int motor_init_for_spi_stepping(uint8_t motor_id) {
    const struct device *dev = get_motor_spi_dev(motor_id);
    struct spi_config *cfg = get_motor_spi_cfg(motor_id);
    
    if (!dev || !cfg) {
        printk("Invalid motor ID: %d\n", motor_id);
        return -1;
    }

    // Lock SPI mutex to ensure exclusive access to the SPI bus
    // K_FOREVER means wait indefinitely until mutex is available
    k_mutex_lock(&spi_mutex, K_FOREVER);
    

    // Configure CTRL1: Enable device, set decay mode

    // Bit 7-4: TRQ_DAC = 0000 (100% torque)
    drv8434s_write_reg(dev, cfg, DRV8434S_CTRL1_REG, 0x00);
    
    // Configure CTRL2: Microstepping mode
    // Bit 7: EN_OUT: 1 (enable)
    // Bit 2-0: 111 DECAY (try editing for smoother motion??)~~~~~~~~~~~~~~~~~~~~~~~~~~~~
    // 1000 0111 = 0x87
    drv8434s_write_reg(dev, cfg, DRV8434S_CTRL2_REG, 0x87);
    
    // Configure CTRL3: SPI stepping mode
    // Bit 7: DIR = 0 (forward, will change per command)
    // Bit 6: STEP = 0 (no step initially)
    // Bit 5: SPI_DIR =  1(spi controls dir)
    // Bits 3-0: MICROSTEP_MODE = 0000 (full step)
    // (0010 = 1/4 step, 0100 = 1/8 step, etc)
    // 0011 0000 = 0x30
    drv8434s_write_reg(dev, cfg, DRV8434S_CTRL3_REG, 0x30);
    
    k_mutex_unlock(&spi_mutex);
    
    printk("Motor %d initialized for SPI stepping\n", motor_id);
    return 0;
}
// Public function to queue a motor movement
int motor_move(uint8_t motor_id, int32_t steps, uint32_t speed_hz) {
    if (motor_id < 1 || motor_id > 3) {
        printk("Invalid motor ID: %d\n", motor_id);
        return -1;
    }
    
    if (speed_hz == 0 || speed_hz > 10000) {
        printk("Invalid speed: %d Hz (must be 1-10000)\n", speed_hz);
        return -1;
    }


    // Lock the motor command mutex to safely check/modify the command queue
    // K_FOREVER means wait indefinitely until we can acquire the lock
    k_mutex_lock(&motor_cmd_mutex, K_FOREVER);
    
    // Check if motor is already in use
    // subtract 1 because motor_id is 1-3, but array index is 0-2
    if (motor_commands[motor_id - 1].in_use) {
        // need to unlock before returning or the mutex stays locked forever (deadlock)
        k_mutex_unlock(&motor_cmd_mutex);
        printk("Motor %d is already moving\n", motor_id);
        return -EBUSY;
    }
    
    // If we get here, motor is available -> continue to queue the command
    // Set up the command structure
    motor_commands[motor_id - 1].motor_id = motor_id;
    motor_commands[motor_id - 1].steps = steps;
    motor_commands[motor_id - 1].speed_hz = speed_hz;
    motor_commands[motor_id - 1].in_use = true;
    
    // Now unlock the mutex since its done modifying shared data
    k_mutex_unlock(&motor_cmd_mutex);
    
    // Wake up motor thread to process new command
    k_sem_give(&motor_sem);
    
    printk("Motor %d: queued %d steps at %d Hz\n", motor_id, steps, speed_hz);
    return 0;
}

// Motor control thread -> starts when motor_move is fully processed
void motor_thread_entry(void *p1, void *p2, void *p3) {
    printk("Motor thread started\n");
    
    while (1) {
        // Waits for a command
        k_sem_take(&motor_sem, K_FOREVER);
        
        // Process all pending motor commands
        for (int i = 0; i < 3; i++) {
            // gets the lock to motor_cmd_mutex so it cant be processed by motor_move at the same time
            k_mutex_lock(&motor_cmd_mutex, K_FOREVER);

            //if motors arent in use release the lock 
            if (!motor_commands[i].in_use) {
                k_mutex_unlock(&motor_cmd_mutex);
                continue;
            }
            
            // Copy command data safely 
            uint8_t motor_id = motor_commands[i].motor_id;
            int32_t steps = motor_commands[i].steps;
            uint32_t speed_hz = motor_commands[i].speed_hz;

            //once the motor_commands have been accessed + copied safely, release lock
            k_mutex_unlock(&motor_cmd_mutex);
            
            // Get device and config
            const struct device *dev = get_motor_spi_dev(motor_id);
            struct spi_config *cfg = get_motor_spi_cfg(motor_id);
            
            // Determine direction
            bool forward = (steps >= 0);
            uint32_t abs_steps = (steps >= 0) ? steps : -steps;
            uint32_t step_delay_us = 1000000 / speed_hz;
            
            // Calculate delay between steps (in microseconds)
            printk("Motor %d: moving %d steps %s at %d Hz (delay=%d us)\n",
                   motor_id, abs_steps, forward ? "forward" : "reverse", 
                   speed_hz, step_delay_us);

            // gets the lokc for using spi
            k_mutex_lock(&spi_mutex, K_FOREVER);
            
             // set direction in CTRL3
             // 1000 0000 = 0x80
            uint8_t ctrl3_val = 0x80;
            if (!forward) {
                ctrl3_val |= 0x00;
            }
            drv8434s_write_reg(dev, cfg, DRV8434S_CTRL3_REG, ctrl3_val);
            
            // steppingggg
            // Check motor ID and use appropriate stepping loop
            // below is for sachin's stirring motor
            if (motor_id == 4) {  // Motor with thru beam sensor
                // Stepping loop WITH thru beam monitoring
                for (uint32_t step = 0; step < abs_steps; step++) {
                    // Check for thru beam trigger
                    if (thru_beam_triggered) {
                        printk("Motor %d stopped by thru beam at step %d\n", motor_id, step);
                        thru_beam_triggered = false;
                        
                        // Do exactly 4 more steps (this will change after testing)
                        printk("Moving 4 additional steps\n");
                        for (int j = 0; j < 4; j++) {
                            // 0100 0000 = 0x40
                            drv8434s_write_reg(dev, cfg, DRV8434S_CTRL3_REG, ctrl3_val | 0x40);
                            k_usleep(1);
                            drv8434s_write_reg(dev, cfg, DRV8434S_CTRL3_REG, ctrl3_val);
                            k_usleep(step_delay_us);
                        }
                        
                        break; 
                    }
                    
                    // Normal step
                    drv8434s_write_reg(dev, cfg, DRV8434S_CTRL3_REG, ctrl3_val | 0x40);
                    k_usleep(1);
                    drv8434s_write_reg(dev, cfg, DRV8434S_CTRL3_REG, ctrl3_val);
                    k_usleep(step_delay_us);
                }
            } else {
                // Stepping loop WITHOUT thru beam monitoring (motors 2 and 3)
                for (uint32_t step = 0; step < abs_steps; step++) {
                    drv8434s_write_reg(dev, cfg, DRV8434S_CTRL3_REG, ctrl3_val | 0x40);
                    k_usleep(1);
                    drv8434s_write_reg(dev, cfg, DRV8434S_CTRL3_REG, ctrl3_val);
                    k_usleep(step_delay_us);
                }
            }
            
             // releases lock for using spi
            k_mutex_unlock(&spi_mutex);
            
            //  marks command as complete (can be used for going to next state)
            k_mutex_lock(&motor_cmd_mutex, K_FOREVER);
            motor_commands[i].in_use = false;
            k_mutex_unlock(&motor_cmd_mutex);
            
            printk("Motor %d: movement complete\n", motor_id);
        }
    }
}
```

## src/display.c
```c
// this file was for interfacing between the main state machine and the display state machine
// the display is controlled by its own thread with its own states for each screen
// this file was never finished because we didnt have time to program the screen 

#include "state_machine.h"
#include <lvgl.h>

void display_thread(void) {
    enum state current_state = IDLE;
    
    while(1) {
        // Check for new state (non-blocking)
        enum state new_state;
        // checks the message queue 
        //          &state_msgq = message queue address
        //          &new_state = address to save the data to (in our case this is the state)
        //          K_NO_WAIT means if there is no data to process then move on with the program (we dont want to block the rest of the program)
        if (k_msgq_get(&state_msgq, &new_state, K_NO_WAIT) == 0) {
            current_state = new_state;
            update_display_state(current_state);
        }
        
        // LVGl screen handling + applies any changes that are queued up (like update screen)
        lv_task_handler();
        // controls the update rate
        // (we dont want lv_task_handler() to be repeatedly called)
        k_msleep(20);
    }
}

void update_display_state(enum state state) {
    // checks the state and updates the display screen accordingly 
    switch(state) {
        case IDLE:
            // i think this is the lvgl function youll use, if not feel free to change
            // where idle_screen is the screen object that you'll define
            lv_scr_load(idle_screen);
            break;
            
        case INIT_CHECK:
            lv_scr_load(init_check_screen);
            break;
            
        case WAX_DISPENSE:
            lv_scr_load(wax_dispense_screen);
            break;
            
        case HEATING:
            lv_scr_load(heating_screen);
            break;
            
        case SCENT_DISPENSE:
            lv_scr_load(scent_dispense_screen);
            break;
            
        case STIRRING:
            lv_scr_load(stirring_screen);
            break;
            
        case WICK_INSERT:
            lv_scr_load(wick_insert_screen);
            break;
            
        case COOLING:
            lv_scr_load(cooling_screen);
            break;
            
        case ESTOP:
            lv_scr_load(estop_screen);
            break;
            
        case ENDSTATE:
            lv_scr_load(done_screen);
            break;
            
        case WASH_CYCLE:
            lv_scr_load(wash_cycle_screen);
            break;
            
        default:
            // just in case, will also use for debugging
            printk("Unknown state: %d\n", state);
            break;
    }
}
```

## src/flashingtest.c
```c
#include <zephyr/kernel.h>
#include <zephyr/device.h>
#include <zephyr/drivers/gpio.h>
#include <zephyr/sys/printk.h>

static const struct gpio_dt_spec testing_gpio = GPIO_DT_SPEC_GET(DT_NODELABEL(testing_output), gpios);

void main(void)
{
    printk("Starting GPIO test\n");
    printk("Testing GPIO spec: port=%s pin=%d\n", 
       testing_gpio.port->name, testing_gpio.pin);
    
    // Check if GPIO is ready
    if (!gpio_is_ready_dt(&testing_gpio)) {
        printk("Testing GPIO device not ready\n");
        return;
    }
    
    // Configure as output
    int err = gpio_pin_configure_dt(&testing_gpio, GPIO_OUTPUT_INACTIVE);
    if (err < 0) {
        printk("Failed to configure pin: %d\n", err);
        return;
    }
    
    // Set it HIGH
    gpio_pin_set_dt(&testing_gpio, 1);
    printk("GPIO set HIGH on PB9\n");
    
    // Done - just loop forever
    while (1) {
        k_msleep(100); 
    }
}
```
